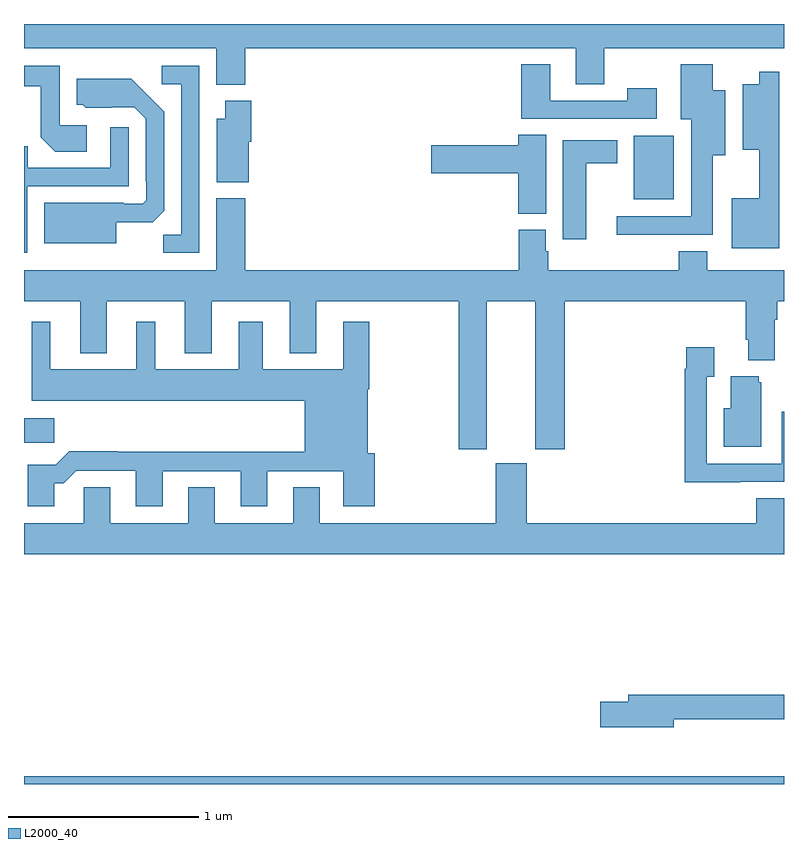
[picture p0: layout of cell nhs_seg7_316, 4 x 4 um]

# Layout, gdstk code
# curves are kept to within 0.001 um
import gdstk
lib = gdstk.Library(unit=1e-6, precision=1e-09)
def R(c, l, rs):  # rectangles x0, y0, x1, y1
    for r in rs: c.add(gdstk.rectangle(r[:2], r[2:], *l))
def P(c, l, *ps):  # polygons
    for p in ps: c.add(gdstk.Polygon(p, *l))
L2000_40 = (2000, 40)

nhs_seg7_316 = lib.new_cell('nhs_seg7_316')
R(nhs_seg7_316, L2000_40, [(133,1074,137,1074.04), (133,1075.795,133.159,1075.924), (136.208,1077.077,136.42,1077.412)])
P(nhs_seg7_316, L2000_40, [(133,1077.872),(134.012,1077.872),(134.012,1077.68),(134.165,1077.68),(134.165,1077.872),(135.905,1077.872),(135.905,1077.682),(136.053,1077.682),(136.053,1077.872),(137,1077.872),(137,1078),(133,1078)],
  [(136.33,1077.661),(136.174,1077.661),(136.174,1077.597),(135.769,1077.597),(135.769,1077.787),(135.617,1077.787),(135.617,1077.501),(136.33,1077.501)],
  [(136.624,1077.308),(136.69,1077.308),(136.69,1077.652),(136.624,1077.652),(136.624,1077.787),(136.457,1077.787),(136.457,1077.5),(136.511,1077.5),(136.511,1076.988),(136.119,1076.988),(136.119,1076.891),(136.624,1076.891)],
  [(133.33,1077.468),(133.188,1077.468),(133.188,1077.78),(133,1077.78),(133,1077.672),(133.089,1077.672),(133.089,1077.404),(133.165,1077.328),(133.33,1077.328)],
  [(133.923,1077.78),(133.725,1077.78),(133.725,1077.684),(133.827,1077.684),(133.827,1076.891),(133.732,1076.891),(133.732,1076.796),(133.923,1076.796)],
  [(136.975,1077.748),(136.871,1077.748),(136.871,1077.682),(136.784,1077.682),(136.784,1077.338),(136.871,1077.338),(136.871,1077.082),(136.724,1077.082),(136.724,1076.819),(136.975,1076.819)],
  [(133.486,1076.957),(133.678,1076.957),(133.737,1077.016),(133.737,1077.538),(133.565,1077.712),(133.277,1077.712),(133.277,1077.576),(133.308,1077.576),(133.324,1077.56),(133.581,1077.561),(133.641,1077.501),(133.641,1077.172),(133.644,1077.172),(133.644,1077.072),(133.626,1077.054),(133.526,1077.054),(133.526,1077.058),(133.106,1077.058),(133.106,1076.846),(133.486,1076.846)],
  [(134.182,1077.381),(134.195,1077.381),(134.195,1077.595),(134.06,1077.595),(134.06,1077.502),(134.015,1077.502),(134.015,1077.167),(134.182,1077.167)],
  [(133.017,1077.147),(133.551,1077.147),(133.551,1077.457),(133.455,1077.457),(133.455,1077.243),(133.019,1077.243),(133.019,1077.356),(133,1077.356),(133,1076.796),(133.017,1076.796)],
  [(135.748,1077.416),(135.602,1077.416),(135.602,1077.362),(135.144,1077.362),(135.144,1077.215),(135.602,1077.215),(135.602,1077.001),(135.748,1077.001)],
  [(135.958,1077.266),(136.123,1077.266),(136.123,1077.388),(135.836,1077.388),(135.836,1076.868),(135.958,1076.868)],
  [(136.799,1076.338),(136.811,1076.338),(136.811,1076.231),(136.951,1076.231),(136.951,1076.444),(136.964,1076.444),(136.964,1076.54),(137,1076.54),(137,1076.704),(136.597,1076.704),(136.597,1076.803),(136.445,1076.803),(136.445,1076.704),(135.758,1076.704),(135.758,1076.805),(135.745,1076.805),(135.745,1076.916),(135.605,1076.916),(135.605,1076.704),(134.165,1076.704),(134.165,1077.082),(134.012,1077.082),(134.012,1076.704),(133,1076.704),(133,1076.54),(133.295,1076.54),(133.295,1076.267),(133.435,1076.267),(133.435,1076.54),(133.847,1076.54),(133.847,1076.267),(133.987,1076.267),(133.987,1076.54),(134.399,1076.54),(134.399,1076.267),(134.539,1076.267),(134.539,1076.54),(135.289,1076.54),(135.289,1075.761),(135.436,1075.761),(135.436,1076.54),(135.692,1076.54),(135.692,1075.761),(135.845,1075.761),(135.845,1076.54),(136.799,1076.54)],
  [(133.159,1075.583),(133.208,1075.583),(133.275,1075.65),(133.589,1075.65),(133.589,1075.461),(133.729,1075.461),(133.729,1075.647),(134.141,1075.647),(134.141,1075.461),(134.281,1075.461),(134.281,1075.647),(134.681,1075.647),(134.681,1075.461),(134.846,1075.461),(134.846,1075.74),(134.809,1075.74),(134.809,1076.078),(134.817,1076.078),(134.817,1076.434),(134.681,1076.434),(134.681,1076.182),(134.257,1076.182),(134.257,1076.434),(134.129,1076.434),(134.129,1076.182),(133.69,1076.182),(133.69,1076.434),(133.592,1076.434),(133.592,1076.182),(133.138,1076.182),(133.138,1076.434),(133.04,1076.434),(133.04,1076.018),(134.477,1076.018),(134.477,1075.748),(133.493,1075.748),(133.493,1075.751),(133.238,1075.751),(133.168,1075.681),(133.019,1075.681),(133.019,1075.461),(133.159,1075.461)],
  [(136.769,1075.59),(137,1075.59),(137,1075.96),(136.989,1075.96),(136.989,1075.686),(136.593,1075.686),(136.593,1076.143),(136.633,1076.143),(136.633,1076.299),(136.485,1076.299),(136.485,1076.186),(136.477,1076.186),(136.477,1075.589),(136.769,1075.589)],
  [(136.879,1076.115),(136.868,1076.115),(136.868,1076.146),(136.721,1076.146),(136.721,1075.978),(136.682,1075.978),(136.682,1075.775),(136.879,1075.775)],
  [(137,1075.505),(136.853,1075.505),(136.853,1075.372),(135.646,1075.372),(135.646,1075.689),(135.482,1075.689),(135.482,1075.372),(134.557,1075.372),(134.557,1075.562),(134.417,1075.562),(134.417,1075.372),(134.005,1075.372),(134.005,1075.562),(133.865,1075.562),(133.865,1075.372),(133.453,1075.372),(133.453,1075.562),(133.314,1075.562),(133.314,1075.372),(133,1075.372),(133,1075.208),(137,1075.208)],
  [(136.42,1074.342),(137,1074.342),(137,1074.47),(136.181,1074.47),(136.181,1074.434),(136.032,1074.434),(136.032,1074.299),(136.42,1074.299)])

lib.write_gds('nhs_seg7_316.gds')
